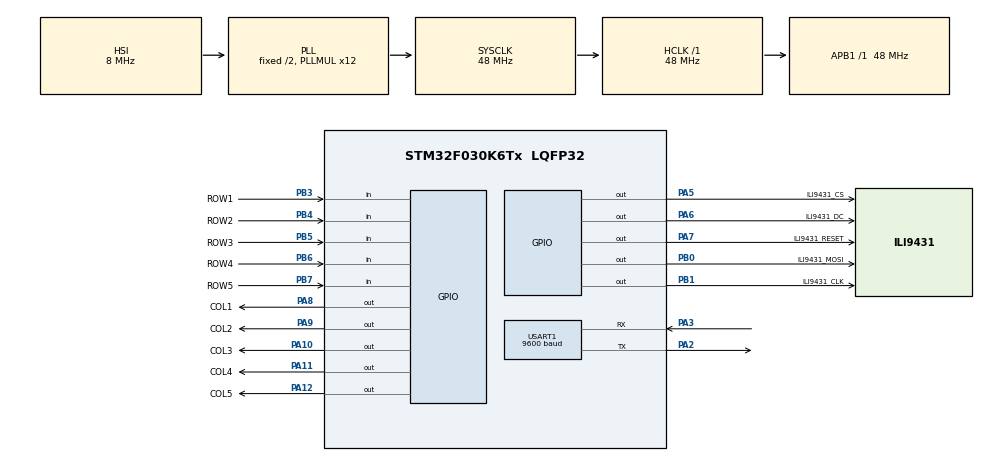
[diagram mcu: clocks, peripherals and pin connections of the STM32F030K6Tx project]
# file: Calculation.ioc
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Mcu.Family=STM32F0
Mcu.Name=STM32F030K6Tx
Mcu.Package=LQFP32
PA10.GPIO_Label=COL3
PA10.Signal=GPIO_Output
PA11.GPIO_Label=COL4
PA11.Signal=GPIO_Output
PA12.GPIO_Label=COL5
PA12.Signal=GPIO_Output
PA13.Mode=Serial_Wire
PA13.Signal=SYS_SWDIO
PA14.Mode=Serial_Wire
PA14.Signal=SYS_SWCLK
PA2.Mode=Asynchronous
PA2.Signal=USART1_TX
PA3.Mode=Asynchronous
PA3.Signal=USART1_RX
PA5.GPIO_Label=ILI9431_CS
PA5.GPIO_PuPd=GPIO_PULLUP
PA5.GPIO_Speed=GPIO_SPEED_FREQ_HIGH
PA5.Signal=GPIO_Output
PA6.GPIO_Label=ILI9431_DC
PA6.GPIO_PuPd=GPIO_PULLUP
PA6.GPIO_Speed=GPIO_SPEED_FREQ_HIGH
PA6.Signal=GPIO_Output
PA7.GPIO_Label=ILI9431_RESET
PA7.GPIO_PuPd=GPIO_PULLUP
PA7.GPIO_Speed=GPIO_SPEED_FREQ_HIGH
PA7.Signal=GPIO_Output
PA8.GPIO_Label=COL1
PA8.Signal=GPIO_Output
PA9.GPIO_Label=COL2
PA9.Signal=GPIO_Output
PB0.GPIO_Label=ILI9431_MOSI
PB0.GPIO_PuPd=GPIO_PULLUP
PB0.GPIO_Speed=GPIO_SPEED_FREQ_HIGH
PB0.Signal=GPIO_Output
PB1.GPIO_Label=ILI9431_CLK
PB1.GPIO_PuPd=GPIO_PULLUP
PB1.GPIO_Speed=GPIO_SPEED_FREQ_HIGH
PB1.Signal=GPIO_Output
PB3.GPIO_Label=ROW1
PB3.GPIO_PuPd=GPIO_PULLUP
PB3.Signal=GPIO_Input
PB4.GPIO_Label=ROW2
PB4.GPIO_PuPd=GPIO_PULLUP
PB4.Signal=GPIO_Input
PB5.GPIO_Label=ROW3
PB5.GPIO_PuPd=GPIO_PULLUP
PB5.Signal=GPIO_Input
PB6.GPIO_Label=ROW4
PB6.GPIO_PuPd=GPIO_PULLUP
PB6.Signal=GPIO_Input
PB7.GPIO_Label=ROW5
PB7.GPIO_PuPd=GPIO_PULLUP
PB7.Signal=GPIO_Input
ProjectManager.HeapSize=0x200
ProjectManager.StackSize=0x400
ProjectManager.TargetToolchain=MDK-ARM V5
RCC.AHBFreq_Value=48000000
RCC.APB1Freq_Value=48000000
RCC.APB1TimFreq_Value=48000000
RCC.HCLKFreq_Value=48000000
RCC.PLLMUL=RCC_PLL_MUL12
RCC.SYSCLKFreq_VALUE=48000000
RCC.SYSCLKSource=RCC_SYSCLKSOURCE_PLLCLK
USART1.BaudRate=9600
USART1.VirtualMode-Asynchronous=VM_ASYNC
board=Calculation

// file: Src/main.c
/**
  ******************************************************************************
  * File Name          : main.c
  * Description        : Main program body
  ******************************************************************************
  ** This notice applies to any and all portions of this file
  * that are not between comment pairs USER CODE BEGIN and
  * USER CODE END. Other portions of this file, whether
  * inserted by the user or by software development tools
  * are owned by their respective copyright owners.
  *
  * COPYRIGHT(c) 2018 STMicroelectronics
  *
  * Redistribution and use in source and binary forms, with or without modification,
  * are permitted provided that the following conditions are met:
  *   1. Redistributions of source code must retain the above copyright notice,
  *      this list of conditions and the following disclaimer.
  *   2. Redistributions in binary form must reproduce the above copyright notice,
  *      this list of conditions and the following disclaimer in the documentation
  *      and/or other materials provided with the distribution.
  *   3. Neither the name of STMicroelectronics nor the names of its contributors
  *      may be used to endorse or promote products derived from this software
  *      without specific prior written permission.
  *
  * THIS SOFTWARE IS PROVIDED BY THE COPYRIGHT HOLDERS AND CONTRIBUTORS "AS IS"
  * AND ANY EXPRESS OR IMPLIED WARRANTIES, INCLUDING, BUT NOT LIMITED TO, THE
  * IMPLIED WARRANTIES OF MERCHANTABILITY AND FITNESS FOR A PARTICULAR PURPOSE ARE
  * DISCLAIMED. IN NO EVENT SHALL THE COPYRIGHT HOLDER OR CONTRIBUTORS BE LIABLE
  * FOR ANY DIRECT, INDIRECT, INCIDENTAL, SPECIAL, EXEMPLARY, OR CONSEQUENTIAL
  * DAMAGES (INCLUDING, BUT NOT LIMITED TO, PROCUREMENT OF SUBSTITUTE GOODS OR
  * SERVICES; LOSS OF USE, DATA, OR PROFITS; OR BUSINESS INTERRUPTION) HOWEVER
  * CAUSED AND ON ANY THEORY OF LIABILITY, WHETHER IN CONTRACT, STRICT LIABILITY,
  * OR TORT (INCLUDING NEGLIGENCE OR OTHERWISE) ARISING IN ANY WAY OUT OF THE USE
  * OF THIS SOFTWARE, EVEN IF ADVISED OF THE POSSIBILITY OF SUCH DAMAGE.
  *
  ******************************************************************************
  */

#include "main.h"
#include "stm32f0xx_hal.h"
#include "usart.h"
#include "gpio.h"

/* USER CODE BEGIN Includes */
#include "oled.h"
#include "keypad.h"
#include "stdio.h"
#include "Calculation.h"
#include "draw.h"
#ifdef __GNUC__
#define PUTCHAR_PROTOTYPE int __io_putchar(int ch)
#else
#define PUTCHAR_PROTOTYPE int fputc(int ch, FILE *f)
#endif
PUTCHAR_PROTOTYPE
{
HAL_UART_Transmit(&huart1 , (uint8_t *)&ch, 1, 0xFFFF);
return ch;
}
/* USER CODE END Includes */

extern uint8_t math_str[80];      //计算表达式字符串，比如“12+45+9-9*8”这样

extern u8 dis_str[80];            //按键输入显示字符串
extern u8 index;                  //LCD显示字符串计数值，表示此时有几个有效字符

/*
enum Mode_Status
{
  Calculation = 0,  //计算器模式
  One_Two,          //计算一元二次方程模式
  Circular,         //圆形图像模式
  SinMode,          //Sin图像模式
  One_One           //一元一次图像模式
};
*/
u8 Curren_Mode;                   //表示当前模式，详见Mode_Status
u8 Need_Math_Flag;                //当前可以进行计算标志
u8 Need_OneTwo_Flag;              //当前可以计算一元二次方程标志
u8 Need_Circular_Flag;            //当前可以输出圆形标志
u8 Need_SinMode_Flag;             //当前可以输出Sin图形标志
u8 Need_OneOne_Flag;              //当前可以输出一元一次图形标志
char math_dis[50];                //计算的结果
u8 need_clean_data;               //Clean标志，清除当前输入
double input_num[3];              //输入参数，比如y=ax+b时，a和b

/* USER CODE BEGIN PV */
/* Private variables ---------------------------------------------------------*/

/* USER CODE END Includes */

/* Private variables ---------------------------------------------------------*/

/* USER CODE BEGIN PV */
/* Private variables ---------------------------------------------------------*/

/* USER CODE END PV */

void SystemClock_Config(void);

/* USER CODE BEGIN PFP */
/* Private function prototypes -----------------------------------------------*/

/* USER CODE END PFP */

int main(void)
{

  /* MCU Configuration----------------------------------------------------------*/

  /* Reset of all peripherals, Initializes the Flash interface and the Systick. */
  HAL_Init();

  /* Configure the system clock */
  SystemClock_Config();                  //系统时钟初始化

  /* Initialize all configured peripherals */
  MX_GPIO_Init();                        //GPIO初始化
  MX_USART1_UART_Init();                 //串口1初始化

  /* USER CODE BEGIN 2 */

	Lcd_Init();			                       //初始化OLED
  BACK_COLOR=BLACK;                      //设置显示屏背景为黑色
	POINT_COLOR=YELLOW;                    //设置显示屏字体颜色为黄色

	Calculation_UI();                      //显示计算器界面
	Curren_Mode = Calculation;             //默认模式为计算器模式
  /* USER CODE END 2 */

  /* Infinite loop */
  while (1)
  {

  /* USER CODE BEGIN 3 */
    Scan_Keyboard();                     //键盘扫描

		switch(Curren_Mode)                  //判断当前模式
		{
	 	case Calculation:                    //计算器模式
			LCD_ShowString(0,40,dis_str);      //显示输入内容
	    if(Need_Math_Flag == 1)            //此时用户输入完，需要计算
	    {
			  Cal_Fun(math_str);               //计算结果
			  LCD_ShowString(0,60,math_dis);   //显示结果
			  need_clean_data = 1;             //下次输入需要自动清空输入内容
		    Need_Math_Flag = 0;              //置0
		  }
			break;

		case One_Two:                            //一元二次计算模式
			  LCD_ShowString(0,60,dis_str);        //显示输入内容
			  if(Need_OneTwo_Flag ==1)            //此时用户输入完，需要计算
			  {
					 Cal_OneTwo(input_num[0],input_num[1],input_num[2]);   //计算结果
					 LCD_ShowString(0,80,math_dis);                        //显示结果
					 need_clean_data = 1;                                  //下次输入需要自动清空输入内容
					 Need_OneTwo_Flag = 0;                                 //置0
			  }
				break;

		case Circular:                            //圆形图像模式
           LCD_ShowString(0,20,dis_str);      //显示输入内容
		       if(Need_Circular_Flag == 1)        //此时用户输入完，需要绘制图形
			     {
							Draw_Round((int)input_num[0],(int)input_num[1],(int)input_num[2]);  //绘制圆形
							Need_Circular_Flag = 0;
							need_clean_data = 1;             //下次输入需要自动清空输入内容
			   }
				break;

		case SinMode:                             //Sin图像模式
			  LCD_ShowString(0,20,dis_str);         //显示输入内容
		    if(Need_SinMode_Flag == 1)            //此时用户输入完，需要绘制图形
			  {
          Draw_Sin((int)input_num[0],(int)input_num[1]);  //绘制Sin图形
					Need_SinMode_Flag = 0;
					need_clean_data = 1;
			  }
				break;

		case One_One:                             //一元一次图像模式
			   LCD_ShowString(0,20,dis_str);        //显示输入内容
		     if(Need_OneOne_Flag == 1)            //此时用户输入完，需要绘制图形
			   {
			      One_two_degree_equation((int)input_num[0],(int)input_num[1]); //绘制一元二次图形
            Need_OneOne_Flag = 0;
				    need_clean_data = 1;
			   }
				break;

		default :
			  	break;
		}
  }
  /* USER CODE END 3 */

}

/** System Clock Configuration
*/
void SystemClock_Config(void)
{

  RCC_OscInitTypeDef RCC_OscInitStruct;
  RCC_ClkInitTypeDef RCC_ClkInitStruct;
  RCC_PeriphCLKInitTypeDef PeriphClkInit;

    /**Initializes the CPU, AHB and APB busses clocks
    */
  RCC_OscInitStruct.OscillatorType = RCC_OSCILLATORTYPE_HSI;
  RCC_OscInitStruct.HSIState = RCC_HSI_ON;
  RCC_OscInitStruct.HSICalibrationValue = 16;
  RCC_OscInitStruct.PLL.PLLState = RCC_PLL_ON;
  RCC_OscInitStruct.PLL.PLLSource = RCC_PLLSOURCE_HSI;
  RCC_OscInitStruct.PLL.PLLMUL = RCC_PLL_MUL12;
  RCC_OscInitStruct.PLL.PREDIV = RCC_PREDIV_DIV1;
  if (HAL_RCC_OscConfig(&RCC_OscInitStruct) != HAL_OK)
  {
    _Error_Handler(__FILE__, __LINE__);
  }

    /**Initializes the CPU, AHB and APB busses clocks
    */
  RCC_ClkInitStruct.ClockType = RCC_CLOCKTYPE_HCLK|RCC_CLOCKTYPE_SYSCLK
                              |RCC_CLOCKTYPE_PCLK1;
  RCC_ClkInitStruct.SYSCLKSource = RCC_SYSCLKSOURCE_PLLCLK;
  RCC_ClkInitStruct.AHBCLKDivider = RCC_SYSCLK_DIV1;
  RCC_ClkInitStruct.APB1CLKDivider = RCC_HCLK_DIV1;

  if (HAL_RCC_ClockConfig(&RCC_ClkInitStruct, FLASH_LATENCY_1) != HAL_OK)
  {
    _Error_Handler(__FILE__, __LINE__);
  }

  PeriphClkInit.PeriphClockSelection = RCC_PERIPHCLK_USART1;
  PeriphClkInit.Usart1ClockSelection = RCC_USART1CLKSOURCE_PCLK1;
  if (HAL_RCCEx_PeriphCLKConfig(&PeriphClkInit) != HAL_OK)
  {
    _Error_Handler(__FILE__, __LINE__);
  }

    /**Configure the Systick interrupt time
    */
  HAL_SYSTICK_Config(HAL_RCC_GetHCLKFreq()/1000);

    /**Configure the Systick
    */
  HAL_SYSTICK_CLKSourceConfig(SYSTICK_CLKSOURCE_HCLK);

  /* SysTick_IRQn interrupt configuration */
  HAL_NVIC_SetPriority(SysTick_IRQn, 0, 0);
}

void _Error_Handler(char * file, int line)
{
  while(1)
  {
  }
}

/************************ (C) COPYRIGHT STMicroelectronics *****END OF FILE****/
